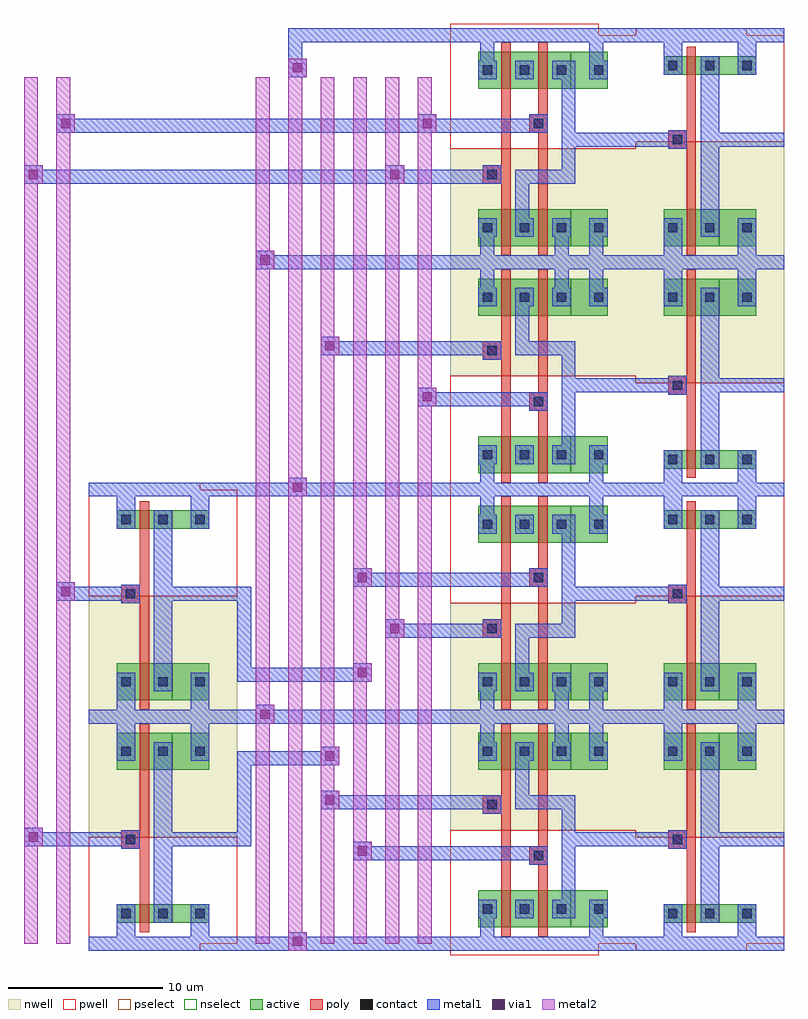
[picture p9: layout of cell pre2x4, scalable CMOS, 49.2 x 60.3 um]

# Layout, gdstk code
from math import pi, radians
import gdstk
lib = gdstk.Library(unit=1e-6, precision=1e-09)
def R(c, l, rs):  # rectangles x0, y0, x1, y1
    for r in rs: c.add(gdstk.rectangle(r[:2], r[2:], *l))
def A(c, l, x, y, w, h, nx, ny, dx, dy):  # array of equal rectangles
    R(c, l, [(x+i*dx, y+j*dy, x+i*dx+w, y+j*dy+h) for i in range(nx) for j in range(ny)])
contact = (25, 0)
pwell = (41, 0)
nwell = (42, 0)
active = (43, 0)
pselect = (44, 0)
nselect = (45, 0)
poly = (46, 0)
metal1 = (49, 0)
via1 = (50, 0)
metal2 = (51, 0)

active_contact_metal1_1x = lib.new_cell('active_contact_metal1_1x1')
R(active_contact_metal1_1x, contact, [(0.3,0.3,0.9,0.9)])
R(active_contact_metal1_1x, active, [(0,0,1.2,1.2)])
R(active_contact_metal1_1x, metal1, [(0,0,1.2,1.2)])

nmos_m1_w1_2 = lib.new_cell('nmos_m1_w1.2')
R(nmos_m1_w1_2, pwell, [(0,0,7.2,4.8)])
R(nmos_m1_w1_2, active, [(1.8,1.8,5.4,3)])
R(nmos_m1_w1_2, nselect, [(1.8,1.8,5.4,3)])
R(nmos_m1_w1_2, poly, [(3.3,1.2,3.9,3.6)])
nmos_m1_w1_2.add(gdstk.Reference(active_contact_metal1_1x, (1.8,1.8)))
nmos_m1_w1_2.add(gdstk.Reference(active_contact_metal1_1x, (4.2,1.8)))

pmos_m1_w2_4 = lib.new_cell('pmos_m1_w2.4')
R(pmos_m1_w2_4, nwell, [(0,0,7.2,6)])
R(pmos_m1_w2_4, active, [(1.8,1.8,5.4,4.2)])
R(pmos_m1_w2_4, pselect, [(1.8,1.8,5.4,4.2)])
R(pmos_m1_w2_4, poly, [(3.3,1.2,3.9,4.8)])
pmos_m1_w2_4.add(gdstk.Reference(active_contact_metal1_1x, (1.8,2.4)))
pmos_m1_w2_4.add(gdstk.Reference(active_contact_metal1_1x, (4.2,2.4)))

poly_contact_metal1_1x1 = lib.new_cell('poly_contact_metal1_1x1')
R(poly_contact_metal1_1x1, contact, [(0.3,0.3,0.9,0.9)])
R(poly_contact_metal1_1x1, poly, [(0,0,1.2,1.2)])
R(poly_contact_metal1_1x1, metal1, [(0,0,1.2,1.2)])

a_inv_1 = lib.new_cell('a_inv_1')
R(a_inv_1, pwell, [(0,0,9.6,6.9)])
R(a_inv_1, nwell, [(0,6.9,9.6,14.7)])
R(a_inv_1, active, [(1.8,1.35,7.8,2.55), (1.8,11.25,7.8,13.65)])
R(a_inv_1, pselect, [(5.4,1.35,7.8,2.55)])
R(a_inv_1, nselect, [(5.4,11.25,7.8,13.65)])
R(a_inv_1, poly, [(3.3,3.15,3.9,10.65), (3.3,6.15,3.9,7.35)])
R(a_inv_1, metal1, [(0,-0.45,9.6,0.45), (1.8,0.45,3,1.35), (6.6,0.45,7.8,2.25), (4.2,2.55,5.4,12), (0,6.3,2.1,7.2), (5.4,6.3,9.6,7.2), (6.6,11.85,7.8,14.25), (1.8,13.05,3,14.25), (0,14.25,9.6,15.15)])
a_inv_1.add(gdstk.Reference(nmos_m1_w1_2, (0,4.35), x_reflection=True))
a_inv_1.add(gdstk.Reference(pmos_m1_w2_4, (0,9.45)))
a_inv_1.add(gdstk.Reference(active_contact_metal1_1x, (6.6,11.85)))
a_inv_1.add(gdstk.Reference(active_contact_metal1_1x, (6.6,1.35)))
a_inv_1.add(gdstk.Reference(poly_contact_metal1_1x1, (3.3,6.15), rotation=pi/2))
a_inv_1.add(gdstk.Label('gnd', (0,-0.45), layer=49, texttype=0))
a_inv_1.add(gdstk.Label('vdd', (0,14.25), layer=49, texttype=0))
a_inv_1.add(gdstk.Label('A', (0,6.3), layer=49, texttype=0))
a_inv_1.add(gdstk.Label('Z', (5.4,6.3), layer=49, texttype=0))

nmos_m1_w2_4 = lib.new_cell('nmos_m1_w2.4')
R(nmos_m1_w2_4, pwell, [(0,0,7.2,6)])
R(nmos_m1_w2_4, active, [(1.8,1.8,5.4,4.2)])
R(nmos_m1_w2_4, nselect, [(1.8,1.8,5.4,4.2)])
R(nmos_m1_w2_4, poly, [(3.3,1.2,3.9,4.8)])
nmos_m1_w2_4.add(gdstk.Reference(active_contact_metal1_1x, (1.8,2.4)))
nmos_m1_w2_4.add(gdstk.Reference(active_contact_metal1_1x, (4.2,2.4)))

path_44 = lib.new_cell('path_44')
R(path_44, metal1, [(-0.45,0,0.45,7.5), (-3.45,7.05,-2.55,7.95), (-3,7.05,0,7.95), (-0.45,7.05,0.45,7.95), (-3.45,7.5,-2.55,10.2)])

a_nand_2 = lib.new_cell('a_nand_2')
R(a_nand_2, pwell, [(0,0,12,7.35)])
R(a_nand_2, nwell, [(0,7.35,12,14.7)])
R(a_nand_2, active, [(4.2,1.05,10.2,3.45), (4.2,11.25,10.2,13.65)])
R(a_nand_2, pselect, [(7.8,1.05,10.2,3.45)])
R(a_nand_2, nselect, [(7.8,11.25,10.2,13.65)])
R(a_nand_2, poly, [(3.3,3.75,3.9,10.95), (5.7,3.75,6.3,10.95), (3.3,8.4,3.9,9.6)])
R(a_nand_2, metal1, [(0,-0.45,12,0.45), (1.95,0,2.85,2.85), (9,0,9.9,2.4), (0,5.4,5.1,6.3), (7.65,6.3,12,7.2), (0,8.7,2.1,9.6), (1.95,11.85,2.85,14.7), (6.75,11.85,7.65,14.7), (9,11.85,9.9,14.7), (0,14.25,12,15.15)])
a_nand_2.add(gdstk.Reference(nmos_m1_w2_4, (0,5.25), x_reflection=True))
a_nand_2.add(gdstk.Reference(nmos_m1_w2_4, (2.4,5.25), x_reflection=True))
a_nand_2.add(gdstk.Reference(pmos_m1_w2_4, (0,9.45)))
a_nand_2.add(gdstk.Reference(pmos_m1_w2_4, (2.4,9.45)))
a_nand_2.add(gdstk.Reference(active_contact_metal1_1x, (9,11.85)))
a_nand_2.add(gdstk.Reference(active_contact_metal1_1x, (9,1.65)))
a_nand_2.add(gdstk.Reference(path_44, (7.65,1.65)))
a_nand_2.add(gdstk.Reference(poly_contact_metal1_1x1, (3.3,8.4), rotation=pi/2))
a_nand_2.add(gdstk.Reference(poly_contact_metal1_1x1, (6.3,5.1), rotation=pi/2))
a_nand_2.add(gdstk.Label('gnd', (0,-0.45), layer=49, texttype=0))
a_nand_2.add(gdstk.Label('vdd', (0,14.25), layer=49, texttype=0))
a_nand_2.add(gdstk.Label('A', (0,8.7), layer=49, texttype=0))
a_nand_2.add(gdstk.Label('B', (0,5.4), layer=49, texttype=0))
a_nand_2.add(gdstk.Label('Z', (7.65,6.3), layer=49, texttype=0))

metal1_via1_metal2_1x1 = lib.new_cell('metal1_via1_metal2_1x1')
R(metal1_via1_metal2_1x1, metal1, [(0,0,1.2,1.2)])
R(metal1_via1_metal2_1x1, via1, [(0.3,0.3,0.9,0.9)])
R(metal1_via1_metal2_1x1, metal2, [(0,0,1.2,1.2)])

pre2x4 = lib.new_cell('pre2x4')
A(pre2x4, metal1, 17.4, -0.45, 10.5, 0.9, 1, 3, 0, 29.4)
R(pre2x4, metal1, [(4.5,-0.45,18.3,0.45), (21.6,5.4,27.9,6.3), (0.3,6.3,5.4,7.2), (14.1,6.3,15,12.45), (39.9,6.3,40.8,7.2), (19.5,8.7,27.9,9.6), (14.1,11.55,20.4,12.45), (4.5,14.25,16.2,15.15), (4.5,14.25,16.2,15.15), (15.3,14.25,27.9,15.15), (14.1,16.95,15,23.1), (14.1,16.95,22.5,17.85), (23.7,19.8,27.9,20.7), (2.4,22.2,5.4,23.1), (39.9,22.2,40.8,23.1), (21.6,23.1,27.9,24), (4.5,28.95,18.3,29.85), (25.8,34.8,27.9,35.7), (39.9,35.7,40.8,36.6), (19.5,38.1,27.9,39), (15.3,43.65,27.9,44.55), (0.3,49.2,27.9,50.1), (23.7,49.2,27.9,50.1), (39.9,51.6,40.8,52.5), (2.4,52.5,27.9,53.4), (25.8,52.5,27.9,53.4), (17.4,56.1,18.3,58.35)])
A(pre2x4, metal2, 15.3, 0, 0.9, 56.1, 6, 1, 2.1, 0)
R(pre2x4, metal2, [(0.3,0,1.2,56.1), (2.4,0,3.3,56.1)])
pre2x4.add(gdstk.Reference(a_inv_1, (4.5,0)))
pre2x4.add(gdstk.Reference(a_inv_1, (4.5,29.4), x_reflection=True))
pre2x4.add(gdstk.Reference(a_inv_1, (39.9,0)))
pre2x4.add(gdstk.Reference(a_inv_1, (39.9,29.4), x_reflection=True))
pre2x4.add(gdstk.Reference(a_inv_1, (39.9,29.4)))
pre2x4.add(gdstk.Reference(a_inv_1, (39.9,58.8), x_reflection=True))
pre2x4.add(gdstk.Reference(a_nand_2, (27.9,0)))
pre2x4.add(gdstk.Reference(a_nand_2, (27.9,29.4), x_reflection=True))
pre2x4.add(gdstk.Reference(a_nand_2, (27.9,29.4)))
pre2x4.add(gdstk.Reference(a_nand_2, (27.9,58.8), x_reflection=True))
pre2x4.add(gdstk.Reference(metal1_via1_metal2_1x1, (20.7,11.55), rotation=pi/2))
pre2x4.add(gdstk.Reference(metal1_via1_metal2_1x1, (1.5,6.3), rotation=pi/2))
pre2x4.add(gdstk.Reference(metal1_via1_metal2_1x1, (22.8,16.95), rotation=pi/2))
pre2x4.add(gdstk.Reference(metal1_via1_metal2_1x1, (3.6,22.2), rotation=pi/2))
pre2x4.add(gdstk.Reference(metal1_via1_metal2_1x1, (20.7,8.7), rotation=pi/2))
pre2x4.add(gdstk.Reference(metal1_via1_metal2_1x1, (22.8,5.4), rotation=pi/2))
pre2x4.add(gdstk.Reference(metal1_via1_metal2_1x1, (24.9,19.8), rotation=pi/2))
pre2x4.add(gdstk.Reference(metal1_via1_metal2_1x1, (22.8,23.1), rotation=pi/2))
pre2x4.add(gdstk.Reference(metal1_via1_metal2_1x1, (20.7,38.1), rotation=pi/2))
pre2x4.add(gdstk.Reference(metal1_via1_metal2_1x1, (27,34.8), rotation=pi/2))
pre2x4.add(gdstk.Reference(metal1_via1_metal2_1x1, (24.9,49.2), rotation=pi/2))
pre2x4.add(gdstk.Reference(metal1_via1_metal2_1x1, (1.5,49.2), rotation=pi/2))
pre2x4.add(gdstk.Reference(metal1_via1_metal2_1x1, (27,52.5), rotation=pi/2))
pre2x4.add(gdstk.Reference(metal1_via1_metal2_1x1, (3.6,52.5), rotation=pi/2))
pre2x4.add(gdstk.Reference(metal1_via1_metal2_1x1, (18.6,-0.45), rotation=pi/2))
pre2x4.add(gdstk.Reference(metal1_via1_metal2_1x1, (16.5,14.25), rotation=pi/2))
pre2x4.add(gdstk.Reference(metal1_via1_metal2_1x1, (18.6,28.95), rotation=pi/2))
pre2x4.add(gdstk.Reference(metal1_via1_metal2_1x1, (16.5,43.65), rotation=pi/2))
pre2x4.add(gdstk.Reference(metal1_via1_metal2_1x1, (18.6,56.1), rotation=pi/2))

lib.write_gds('pre2x4.gds')
